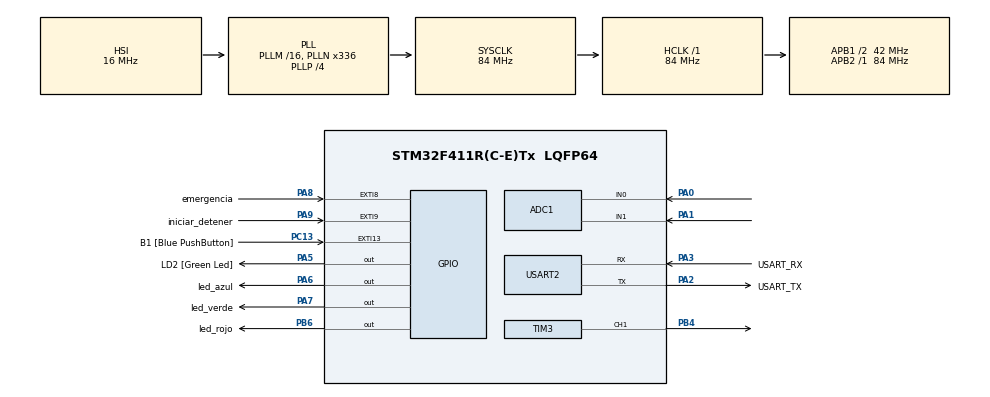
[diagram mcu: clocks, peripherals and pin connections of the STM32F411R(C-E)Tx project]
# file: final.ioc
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ADC1.Channel-0\#ChannelRegularConversion=ADC_CHANNEL_0
ADC1.ExternalTrigConv=ADC_EXTERNALTRIGCONV_T3_TRGO
ADC1.NbrOfConversionFlag=1
ADC1.Rank-0\#ChannelRegularConversion=1
ADC1.SamplingTime-0\#ChannelRegularConversion=ADC_SAMPLETIME_28CYCLES
ADC1.master=1
Mcu.Family=STM32F4
Mcu.Name=STM32F411R(C-E)Tx
Mcu.Package=LQFP64
NVIC.ADC_IRQn=true\:0\:0\:false\:false\:true\:true\:true\:true
NVIC.EXTI9_5_IRQn=true\:0\:0\:false\:false\:true\:true\:true\:true
NVIC.PriorityGroup=NVIC_PRIORITYGROUP_0
NVIC.TIM3_IRQn=true\:0\:0\:false\:false\:true\:true\:true\:true
NVIC.USART2_IRQn=true\:0\:0\:false\:false\:true\:true\:true\:true
PA0-WKUP.Signal=ADCx_IN0
PA1.Signal=ADCx_IN1
PA13.GPIO_Label=TMS
PA13.Mode=Serial_Wire
PA13.Signal=SYS_JTMS-SWDIO
PA14.GPIO_Label=TCK
PA14.Mode=Serial_Wire
PA14.Signal=SYS_JTCK-SWCLK
PA2.GPIO_Label=USART_TX
PA2.Mode=Asynchronous
PA2.Signal=USART2_TX
PA3.GPIO_Label=USART_RX
PA3.Mode=Asynchronous
PA3.Signal=USART2_RX
PA5.GPIO_Label=LD2 [Green Led]
PA5.Signal=GPIO_Output
PA6.GPIO_Label=led_azul
PA6.GPIO_PuPd=GPIO_NOPULL
PA6.Signal=GPIO_Output
PA7.GPIO_Label=led_verde
PA7.GPIO_PuPd=GPIO_NOPULL
PA7.Signal=GPIO_Output
PA8.GPIO_Label=emergencia
PA8.GPIO_PuPd=GPIO_PULLUP
PA8.Signal=GPXTI8
PA9.GPIO_Label=iniciar_detener
PA9.GPIO_PuPd=GPIO_PULLUP
PA9.Signal=GPXTI9
PB3.GPIO_Label=SWO
PB3.Signal=SYS_JTDO-SWO
PB4.Signal=S_TIM3_CH1
PB6.GPIO_Label=led_rojo
PB6.GPIO_PuPd=GPIO_NOPULL
PB6.Signal=GPIO_Output
PC13-ANTI_TAMP.GPIO_Label=B1 [Blue PushButton]
PC13-ANTI_TAMP.GPIO_ModeDefaultEXTI=GPIO_MODE_IT_FALLING
PC13-ANTI_TAMP.Signal=GPXTI13
PC14-OSC32_IN.Mode=LSE-External-Oscillator
PC14-OSC32_IN.Signal=RCC_OSC32_IN
PC15-OSC32_OUT.Mode=LSE-External-Oscillator
PC15-OSC32_OUT.Signal=RCC_OSC32_OUT
PH0\ -\ OSC_IN.Mode=HSE-External-Clock-Source
PH0\ -\ OSC_IN.Signal=RCC_OSC_IN
PH1\ -\ OSC_OUT.Mode=HSE-External-Clock-Source
PH1\ -\ OSC_OUT.Signal=RCC_OSC_OUT
ProjectManager.HeapSize=0x200
ProjectManager.StackSize=0x400
ProjectManager.TargetToolchain=STM32CubeIDE
RCC.48MHZClocksFreq_Value=84000000
RCC.AHBFreq_Value=84000000
RCC.APB1CLKDivider=RCC_HCLK_DIV2
RCC.APB1Freq_Value=42000000
RCC.APB1TimFreq_Value=84000000
RCC.APB2Freq_Value=84000000
RCC.APB2TimFreq_Value=84000000
RCC.CortexFreq_Value=84000000
RCC.FLatency-AdvancedSettings=FLASH_LATENCY_2
RCC.HCLKFreq_Value=84000000
RCC.HSE_VALUE=8000000
RCC.HSI_VALUE=16000000
RCC.PLLN=336
RCC.PLLP=RCC_PLLP_DIV4
RCC.SYSCLKFreq_VALUE=84000000
RCC.SYSCLKSource=RCC_SYSCLKSOURCE_PLLCLK
RCC.VCOOutputFreq_Value=336000000
SH.ADCx_IN0.0=ADC1_IN0,IN0
SH.ADCx_IN1.0=ADC1_IN1,IN1
SH.S_TIM3_CH1.0=TIM3_CH1,PWM Generation1 CH1
TIM3.AutoReloadPreload=TIM_AUTORELOAD_PRELOAD_ENABLE
TIM3.Channel-PWM\ Generation1\ CH1=TIM_CHANNEL_1
TIM3.Channel-PWM\ Generation2\ No\ Output=TIM_CHANNEL_2
TIM3.Period=999
TIM3.Prescaler=83
TIM3.TIM_MasterOutputTrigger=TIM_TRGO_OC2REF
USART2.VirtualMode=VM_ASYNC
VP_TIM3_VS_ClockSourceINT.Mode=Internal
VP_TIM3_VS_no_output2.Mode=PWM Generation2 No Output
board=NUCLEO-F411RE

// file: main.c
/* USER CODE BEGIN Header */
/**
  ******************************************************************************
  * @file           : main.c
  * @brief          : Main program body
  ******************************************************************************
  * @attention
  *
  * Copyright (c) 2026 STMicroelectronics.
  * All rights reserved.
  *
  * This software is licensed under terms that can be found in the LICENSE file
  * in the root directory of this software component.
  * If no LICENSE file comes with this software, it is provided AS-IS.
  *
  ******************************************************************************
  */
/* USER CODE END Header */
#include "main.h"

/* USER CODE BEGIN Includes */
#include <stdlib.h>
#include <stdio.h>
#include <string.h>
#include "leerADC.h"
/* USER CODE END Includes */

/* USER CODE BEGIN PTD */
typedef enum { EST_A, EST_B, EST_C, EST_D, EST_E } estado_t;
/* USER CODE END PTD */

/* USER CODE BEGIN PD */
//#define ADC_BUF_LEN 400
#define LINEA_MAX          32U     /* tamaño de linea_rx, contando el '\0' */

/* USER CODE END PD */

ADC_HandleTypeDef hadc1;

TIM_HandleTypeDef htim3;

UART_HandleTypeDef huart2;

/* USER CODE BEGIN PV */
//volatile uint16_t adc_buf;
volatile estado_t estado = EST_A;
extern volatile float Vpulso;
volatile float Vtemp;
volatile uint8_t temperatura;
extern volatile uint16_t adc_pulso;
extern volatile uint16_t I;
static uint8_t autorizado = 0;
volatile uint8_t evt_boton = 0;
volatile uint8_t evt_emergencia = 0;
volatile uint8_t emergencia = 0;
uint8_t byte_rx;                          /* donde la HAL deja cada byte */
char linea_rx[LINEA_MAX];                 /* la línea que se va formando */
uint32_t longitud_rx = 0;                 /* caracteres guardados en linea_rx (solo la callback) */
volatile uint8_t flag_linea_lista = 0;    /* 1: hay una línea completa (la pone la callback) */
volatile uint16_t adc_pulso;
volatile float Vpulso;
volatile uint8_t adc_listo=0;
volatile uint16_t adc_raw;
volatile uint32_t canal = ADC_CHANNEL_0;
volatile uint8_t toca_leer_a1 = 0;
extern volatile uint16_t duty;
static char tx_buf[48];
/* USER CODE END PV */

void SystemClock_Config(void);
static void MX_GPIO_Init(void);
static void MX_USART2_UART_Init(void);
static void MX_TIM3_Init(void);
static void MX_ADC1_Init(void);

/* USER CODE BEGIN 0 */
void HAL_GPIO_EXTI_Callback(uint16_t GPIO_Pin){
	static uint32_t t_ult = 0;
	if(GPIO_Pin == iniciar_detener_Pin && HAL_GetTick() - t_ult > 20){//antirrebote
		t_ult = HAL_GetTick();
		evt_boton=1;
	}
	else if(GPIO_Pin == emergencia_Pin && HAL_GetTick() - t_ult > 20){//antirrebote
		t_ult = HAL_GetTick();
		evt_boton=1;
		evt_emergencia=1;
	}
}
uint32_t adc_binary1;
uint32_t volts_mv1;

uint32_t t_ultimo = 0;
uint32_t t_led = 0;

/* USER CODE END 0 */

int main(void)
{

  /* MCU Configuration--------------------------------------------------------*/

  /* Reset of all peripherals, Initializes the Flash interface and the Systick. */
  HAL_Init();

  /* Configure the system clock */
  SystemClock_Config();

  /* Initialize all configured peripherals */
  MX_GPIO_Init();
  MX_USART2_UART_Init();
  MX_TIM3_Init();
  MX_ADC1_Init();
  /* USER CODE BEGIN 2 */
  HAL_ADC_Start_IT(&hadc1);
  //HAL_TIM_PWM_Start(&htim3, TIM_CHANNEL_1);   // CC1E + CEN
  TIM3->SR = ~TIM_SR_UIF;
  TIM3->DIER |= TIM_DIER_UIE;
  TIM3->CCER |= TIM_CCER_CC1E;
  TIM3->CR1 |= TIM_CR1_CEN;

  void maquina_estados(){
	  if(evt_boton){evt_boton=0; autorizado = !autorizado;}
	  if(evt_emergencia){evt_emergencia=0;emergencia = !emergencia;}
	  switch(estado){
	  	  case EST_A:
	  		  autorizado = 0;
	  		  HAL_GPIO_WritePin(led_verde_GPIO_Port, led_verde_Pin, GPIO_PIN_SET);
	  		  HAL_GPIO_WritePin(led_azul_GPIO_Port, led_azul_Pin, GPIO_PIN_RESET);
	  		  HAL_GPIO_WritePin(led_rojo_GPIO_Port, led_rojo_Pin, GPIO_PIN_RESET);
	  		  if(adc_pulso < 4000){
	  			  if(!autorizado)estado=EST_B;
	  			  else if(autorizado && Vpulso>1.24)estado=EST_C;
	  			  else if(autorizado && Vpulso<1.21 && Vpulso>0.41)estado=EST_D;
	  			  else if(autorizado && Vpulso<0.41)estado=EST_E;
	  		  }
	  		  break;
	  	  case EST_B:

	  		  HAL_GPIO_WritePin(led_verde_GPIO_Port, led_verde_Pin, GPIO_PIN_RESET);
	  		  HAL_GPIO_WritePin(led_rojo_GPIO_Port, led_rojo_Pin, GPIO_PIN_RESET);

	  		  //HAL_Delay(500);
	  		  if(HAL_GetTick() - t_led >= 500)// ha pasado 0.5 segundo?
	  			  {

	  			  		  t_led = HAL_GetTick(); //siguiente instante, sin deriva
	  			  		  //tarea de cada medio segundo
	  			  		  HAL_GPIO_TogglePin(led_azul_GPIO_Port, led_azul_Pin);

	  			  }
	  		if(adc_pulso > 4000)estado=EST_A;
	  		if(autorizado && Vpulso>1.24)estado=EST_C;
	  		if(autorizado && Vpulso<1.21 && Vpulso>0.41)estado=EST_D;
	  		if(emergencia)estado=EST_E;
	  		  		  break;
	  	  case EST_C:
	  		  HAL_GPIO_WritePin(led_verde_GPIO_Port, led_verde_Pin, GPIO_PIN_RESET);
	  		  HAL_GPIO_WritePin(led_azul_GPIO_Port, led_azul_Pin, GPIO_PIN_SET);
	  		  HAL_GPIO_WritePin(led_rojo_GPIO_Port, led_rojo_Pin, GPIO_PIN_RESET);
	  		if(adc_pulso > 4000)estado=EST_A;
	  		else if(!autorizado)estado=EST_B;
	  		else if(autorizado && Vpulso<1.21 && Vpulso>0.41)estado=EST_D;
	  		else if((autorizado && Vpulso<0.41)||emergencia)estado=EST_E;
	  		  		  break;

	  	  case EST_D:
	  		  HAL_GPIO_WritePin(led_verde_GPIO_Port, led_verde_Pin, GPIO_PIN_RESET);
	  		  HAL_GPIO_WritePin(led_azul_GPIO_Port, led_azul_Pin, GPIO_PIN_SET);
	  		  HAL_GPIO_WritePin(led_rojo_GPIO_Port, led_rojo_Pin, GPIO_PIN_RESET);

	  		if(adc_pulso > 4000)estado=EST_A;
	  			  		else if(!autorizado)estado=EST_B;
	  			  		else if(autorizado && Vpulso>1.24)estado=EST_C;
	  			  		else if((autorizado && Vpulso<0.41)||emergencia)estado=EST_E;
	  		  		  break;
	  	  case EST_E:
	  		  HAL_GPIO_WritePin(led_verde_GPIO_Port, led_verde_Pin, GPIO_PIN_RESET);
	  		  HAL_GPIO_WritePin(led_azul_GPIO_Port, led_azul_Pin, GPIO_PIN_RESET);
	  		  HAL_GPIO_WritePin(led_rojo_GPIO_Port, led_rojo_Pin, GPIO_PIN_SET);
	  		if(adc_pulso > 4000 && !emergencia)estado=EST_A;
	  		  		  break;
	  	  }
  }
  HAL_UART_Receive_IT(&huart2, &byte_rx, 2);

   t_ultimo   = HAL_GetTick();
  //uint32_t t_5s   = HAL_GetTick();
   uint32_t last = HAL_GetTick();
  /* USER CODE END 2 */

  /* Infinite loop */
  /* USER CODE BEGIN WHILE */
  while (1)
  {
	  if(flag_linea_lista == 1U){
		  I = (uint8_t)atoi(&linea_rx[0]);          /* "250" -> 250 */
		  flag_linea_lista=0;

	  }
	  maquina_estados();

	  if((HAL_GetTick() - t_ultimo >= 1000)&& !toca_leer_a1)// ha pasado 1 segundo?
	  {

	  		  t_ultimo = HAL_GetTick(); //siguiente instante, sin deriva
	  		  //tarea de cada segundo
	  		  toca_leer_a1 = 1;

	  }

	  if(adc_listo){
		  adc_listo = 0;

		  if(canal==ADC_CHANNEL_1)
		  {
			  adc_binary1 = adc_raw;
			  Vtemp = adc_to_mv(adc_binary1);
			  temperatura = (Vtemp - 500) / 10;
			  //ya leimos temperatura, volvemos a pa0 para la siguiente conversion del timer
			  canal = ADC_CHANNEL_0;
			  cambiar_canal(canal);

		  }
		  else
		  {
			  adc_pulso = adc_raw;
			  Vpulso = adc_to_mv(adc_pulso) / 1000.0;

			  //si pasó 1 segundo, cambiamos a pa1 la siguiente conversion
			  		  if(toca_leer_a1){
			  			  toca_leer_a1 = 0,
			  			  canal = ADC_CHANNEL_1;
			  			  cambiar_canal(canal);
			  		  }
		  }

		  HAL_ADC_Start_IT(&hadc1);
	  }

	  if(HAL_GetTick() - last >= 50)
	  {
		  last = HAL_GetTick();
		  if (huart2.gState == HAL_UART_STATE_READY)
		  {
			  uint32_t vpot_mv = (uint32_t)(Vpulso * 1000.0f); // 1.65 V → 1650 mV, sin %f

			  int n = snprintf(tx_buf, sizeof(tx_buf), "duty=%u porciento vpot=%lu mV I=%u A\r\n",
					  (unsigned)duty, vpot_mv, (unsigned)I);

			  HAL_UART_Transmit_IT(&huart2, (uint8_t *)tx_buf, n);
		  }
	  }

	//  if(temperatura > 50){
	//	  if(HAL_GetTick() - t_5s >= 5000){// ha pasado 5 segundos?
	//	  		  t_5s = HAL_GetTick(); //siguiente instante, sin deriva
	//	  }
	  //}

    /* USER CODE END WHILE */

  }
}

void SystemClock_Config(void)
{
  RCC_OscInitTypeDef RCC_OscInitStruct = {0};
  RCC_ClkInitTypeDef RCC_ClkInitStruct = {0};

  /** Configure the main internal regulator output voltage
  */
  __HAL_RCC_PWR_CLK_ENABLE();
  __HAL_PWR_VOLTAGESCALING_CONFIG(PWR_REGULATOR_VOLTAGE_SCALE1);

  /** Initializes the RCC Oscillators according to the specified parameters
  * in the RCC_OscInitTypeDef structure.
  */
  RCC_OscInitStruct.OscillatorType = RCC_OSCILLATORTYPE_HSI;
  RCC_OscInitStruct.HSIState = RCC_HSI_ON;
  RCC_OscInitStruct.HSICalibrationValue = RCC_HSICALIBRATION_DEFAULT;
  RCC_OscInitStruct.PLL.PLLState = RCC_PLL_ON;
  RCC_OscInitStruct.PLL.PLLSource = RCC_PLLSOURCE_HSI;
  RCC_OscInitStruct.PLL.PLLM = 16;
  RCC_OscInitStruct.PLL.PLLN = 336;
  RCC_OscInitStruct.PLL.PLLP = RCC_PLLP_DIV4;
  RCC_OscInitStruct.PLL.PLLQ = 4;
  if (HAL_RCC_OscConfig(&RCC_OscInitStruct) != HAL_OK)
  {
    Error_Handler();
  }

  /** Initializes the CPU, AHB and APB buses clocks
  */
  RCC_ClkInitStruct.ClockType = RCC_CLOCKTYPE_HCLK|RCC_CLOCKTYPE_SYSCLK
                              |RCC_CLOCKTYPE_PCLK1|RCC_CLOCKTYPE_PCLK2;
  RCC_ClkInitStruct.SYSCLKSource = RCC_SYSCLKSOURCE_PLLCLK;
  RCC_ClkInitStruct.AHBCLKDivider = RCC_SYSCLK_DIV1;
  RCC_ClkInitStruct.APB1CLKDivider = RCC_HCLK_DIV2;
  RCC_ClkInitStruct.APB2CLKDivider = RCC_HCLK_DIV1;

  if (HAL_RCC_ClockConfig(&RCC_ClkInitStruct, FLASH_LATENCY_2) != HAL_OK)
  {
    Error_Handler();
  }
}

static void MX_ADC1_Init(void)
{

  ADC_ChannelConfTypeDef sConfig = {0};

  /** Configure the global features of the ADC (Clock, Resolution, Data Alignment and number of conversion)
  */
  hadc1.Instance = ADC1;
  hadc1.Init.ClockPrescaler = ADC_CLOCK_SYNC_PCLK_DIV4;
  hadc1.Init.Resolution = ADC_RESOLUTION_12B;
  hadc1.Init.ScanConvMode = DISABLE;
  hadc1.Init.ContinuousConvMode = DISABLE;
  hadc1.Init.DiscontinuousConvMode = DISABLE;
  hadc1.Init.ExternalTrigConvEdge = ADC_EXTERNALTRIGCONVEDGE_RISING;
  hadc1.Init.ExternalTrigConv = ADC_EXTERNALTRIGCONV_T3_TRGO;
  hadc1.Init.DataAlign = ADC_DATAALIGN_RIGHT;
  hadc1.Init.NbrOfConversion = 1;
  hadc1.Init.DMAContinuousRequests = DISABLE;
  hadc1.Init.EOCSelection = ADC_EOC_SINGLE_CONV;
  if (HAL_ADC_Init(&hadc1) != HAL_OK)
  {
    Error_Handler();
  }

  /** Configure for the selected ADC regular channel its corresponding rank in the sequencer and its sample time.
  */
  sConfig.Channel = ADC_CHANNEL_0;
  sConfig.Rank = 1;
  sConfig.SamplingTime = ADC_SAMPLETIME_28CYCLES;
  if (HAL_ADC_ConfigChannel(&hadc1, &sConfig) != HAL_OK)
  {
    Error_Handler();
  }

}

static void MX_TIM3_Init(void)
{

  TIM_ClockConfigTypeDef sClockSourceConfig = {0};
  TIM_MasterConfigTypeDef sMasterConfig = {0};
  TIM_OC_InitTypeDef sConfigOC = {0};

  htim3.Instance = TIM3;
  htim3.Init.Prescaler = 83;
  htim3.Init.CounterMode = TIM_COUNTERMODE_UP;
  htim3.Init.Period = 999;
  htim3.Init.ClockDivision = TIM_CLOCKDIVISION_DIV1;
  htim3.Init.AutoReloadPreload = TIM_AUTORELOAD_PRELOAD_ENABLE;
  if (HAL_TIM_Base_Init(&htim3) != HAL_OK)
  {
    Error_Handler();
  }
  sClockSourceConfig.ClockSource = TIM_CLOCKSOURCE_INTERNAL;
  if (HAL_TIM_ConfigClockSource(&htim3, &sClockSourceConfig) != HAL_OK)
  {
    Error_Handler();
  }
  if (HAL_TIM_PWM_Init(&htim3) != HAL_OK)
  {
    Error_Handler();
  }
  sMasterConfig.MasterOutputTrigger = TIM_TRGO_OC2REF;
  sMasterConfig.MasterSlaveMode = TIM_MASTERSLAVEMODE_DISABLE;
  if (HAL_TIMEx_MasterConfigSynchronization(&htim3, &sMasterConfig) != HAL_OK)
  {
    Error_Handler();
  }
  sConfigOC.OCMode = TIM_OCMODE_PWM1;
  sConfigOC.Pulse = 0;
  sConfigOC.OCPolarity = TIM_OCPOLARITY_HIGH;
  sConfigOC.OCFastMode = TIM_OCFAST_DISABLE;
  if (HAL_TIM_PWM_ConfigChannel(&htim3, &sConfigOC, TIM_CHANNEL_1) != HAL_OK)
  {
    Error_Handler();
  }
  if (HAL_TIM_PWM_ConfigChannel(&htim3, &sConfigOC, TIM_CHANNEL_2) != HAL_OK)
  {
    Error_Handler();
  }
  HAL_TIM_MspPostInit(&htim3);

}

static void MX_USART2_UART_Init(void)
{

  huart2.Instance = USART2;
  huart2.Init.BaudRate = 115200;
  huart2.Init.WordLength = UART_WORDLENGTH_8B;
  huart2.Init.StopBits = UART_STOPBITS_1;
  huart2.Init.Parity = UART_PARITY_NONE;
  huart2.Init.Mode = UART_MODE_TX_RX;
  huart2.Init.HwFlowCtl = UART_HWCONTROL_NONE;
  huart2.Init.OverSampling = UART_OVERSAMPLING_16;
  if (HAL_UART_Init(&huart2) != HAL_OK)
  {
    Error_Handler();
  }

}

static void MX_GPIO_Init(void)
{
  GPIO_InitTypeDef GPIO_InitStruct = {0};

  /* GPIO Ports Clock Enable */
  __HAL_RCC_GPIOC_CLK_ENABLE();
  __HAL_RCC_GPIOH_CLK_ENABLE();
  __HAL_RCC_GPIOA_CLK_ENABLE();
  __HAL_RCC_GPIOB_CLK_ENABLE();

  /*Configure GPIO pin Output Level */
  HAL_GPIO_WritePin(GPIOA, LD2_Pin|led_azul_Pin|led_verde_Pin, GPIO_PIN_RESET);

  /*Configure GPIO pin Output Level */
  HAL_GPIO_WritePin(led_rojo_GPIO_Port, led_rojo_Pin, GPIO_PIN_RESET);

  /*Configure GPIO pin : B1_Pin */
  GPIO_InitStruct.Pin = B1_Pin;
  GPIO_InitStruct.Mode = GPIO_MODE_IT_FALLING;
  GPIO_InitStruct.Pull = GPIO_NOPULL;
  HAL_GPIO_Init(B1_GPIO_Port, &GPIO_InitStruct);

  /*Configure GPIO pins : LD2_Pin led_azul_Pin led_verde_Pin */
  GPIO_InitStruct.Pin = LD2_Pin|led_azul_Pin|led_verde_Pin;
  GPIO_InitStruct.Mode = GPIO_MODE_OUTPUT_PP;
  GPIO_InitStruct.Pull = GPIO_NOPULL;
  GPIO_InitStruct.Speed = GPIO_SPEED_FREQ_LOW;
  HAL_GPIO_Init(GPIOA, &GPIO_InitStruct);

  /*Configure GPIO pins : emergencia_Pin iniciar_detener_Pin */
  GPIO_InitStruct.Pin = emergencia_Pin|iniciar_detener_Pin;
  GPIO_InitStruct.Mode = GPIO_MODE_IT_RISING;
  GPIO_InitStruct.Pull = GPIO_PULLUP;
  HAL_GPIO_Init(GPIOA, &GPIO_InitStruct);

  /*Configure GPIO pin : led_rojo_Pin */
  GPIO_InitStruct.Pin = led_rojo_Pin;
  GPIO_InitStruct.Mode = GPIO_MODE_OUTPUT_PP;
  GPIO_InitStruct.Pull = GPIO_NOPULL;
  GPIO_InitStruct.Speed = GPIO_SPEED_FREQ_LOW;
  HAL_GPIO_Init(led_rojo_GPIO_Port, &GPIO_InitStruct);

  /* EXTI interrupt init*/
  HAL_NVIC_SetPriority(EXTI9_5_IRQn, 0, 0);
  HAL_NVIC_EnableIRQ(EXTI9_5_IRQn);

}

/* USER CODE BEGIN 4 */
void HAL_ADC_ConvCpltCallback(ADC_HandleTypeDef *hadc)
{
	if (hadc->Instance == ADC1) {

		adc_raw = HAL_ADC_GetValue(hadc);

		adc_listo = 1; // solo leer y avisar

		HAL_ADC_Stop_IT(hadc);
	}
}
void HAL_UART_RxCpltCallback(UART_HandleTypeDef *huart){
	if (huart == &huart2)
	  {
	    if ((byte_rx == '\r') || (byte_rx == '\n'))              /* Enter */
	    {
	      if ((longitud_rx > 0U) && (flag_linea_lista == 0U))
	      {
	        linea_rx[longitud_rx] = '\0';
	        flag_linea_lista = 1;
	        longitud_rx = 0;
	      }
	    }
	    else if ((flag_linea_lista == 0U) && (longitud_rx < (LINEA_MAX - 1U)))   /* cabe */
	    {
	      linea_rx[longitud_rx] = (char)byte_rx;
	      longitud_rx++;
	    }
	    HAL_UART_Receive_IT(&huart2, &byte_rx, 1);              /* volver a armar */
	  }
  }
//void HAL_UART_TxCpltCallback(){
	//tx_done = 1;
//}
  void HAL_UART_ErrorCallback(UART_HandleTypeDef *huart)
  {
	  if (huart == &huart2)
	    {
	      longitud_rx = 0;                                        /* descartar la línea */
	      HAL_UART_Receive_IT(&huart2, &byte_rx, 1);              /* volver a armar */
	    }
  }
/* USER CODE END 4 */

void Error_Handler(void)
{
  __disable_irq();
  while (1)
  {
  }
}
